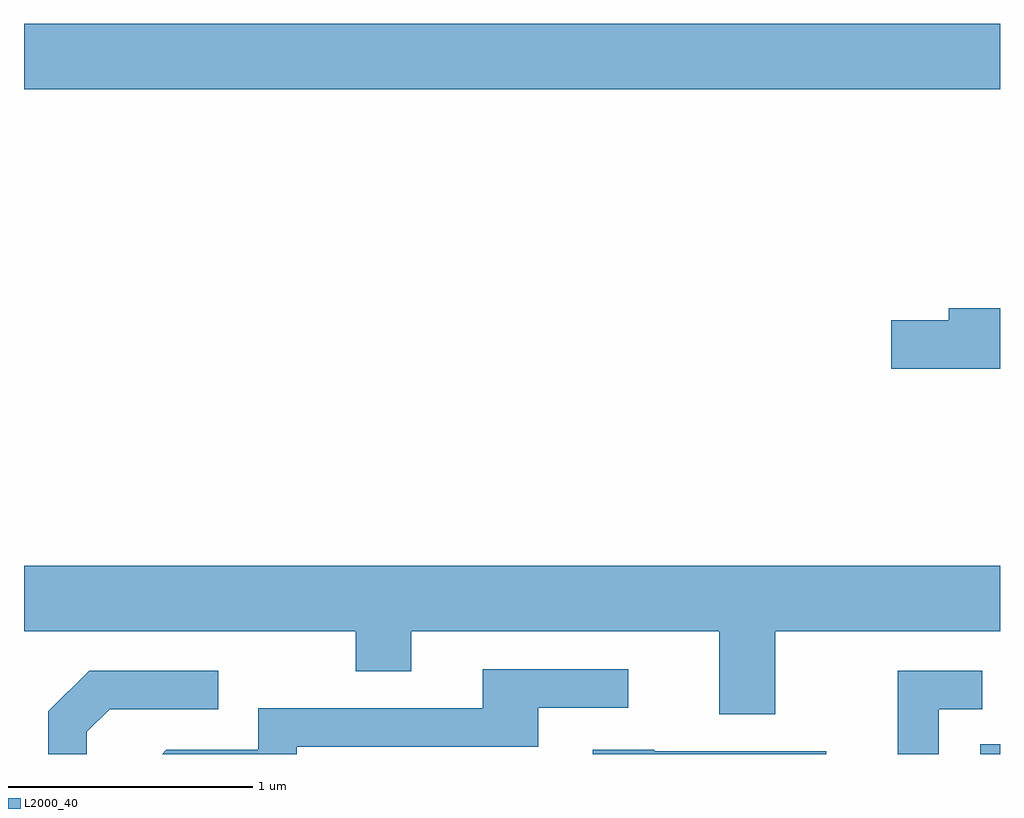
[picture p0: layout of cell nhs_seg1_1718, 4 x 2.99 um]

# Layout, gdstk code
import gdstk
lib = gdstk.Library(unit=1e-6, precision=1e-09)
def R(c, l, rs):  # rectangles x0, y0, x1, y1
    for r in rs: c.add(gdstk.rectangle(r[:2], r[2:], *l))
def P(c, l, *ps):  # polygons
    for p in ps: c.add(gdstk.Polygon(p, *l))
L2000_40 = (2000, 40)

nhs_seg1_1718 = lib.new_cell('nhs_seg1_1718')
R(nhs_seg1_1718, L2000_40, [(241.531,925.712,241.611,925.753), (237.611,928.436,241.611,928.704)])
P(nhs_seg1_1718, L2000_40, [(241.611,927.539),(241.401,927.539),(241.401,927.489),(241.166,927.489),(241.166,927.291),(241.611,927.291)],
  [(240.689,926.216),(241.611,926.216),(241.611,926.484),(237.611,926.484),(237.611,926.216),(238.971,926.216),(238.971,926.051),(239.199,926.051),(239.199,926.216),(240.461,926.216),(240.461,925.876),(240.689,925.876)],
  [(238.729,925.741),(239.719,925.741),(239.719,925.901),(240.088,925.901),(240.088,926.059),(239.491,926.059),(239.491,925.899),(238.571,925.899),(238.571,925.729),(238.194,925.729),(238.177,925.712),(238.729,925.712)],
  [(237.869,925.804),(237.962,925.896),(238.408,925.896),(238.408,926.054),(237.879,926.054),(237.711,925.887),(237.711,925.712),(237.869,925.712)],
  [(241.359,925.896),(241.538,925.896),(241.538,926.054),(241.191,926.054),(241.191,925.712),(241.359,925.712)],
  [(240.899,925.724),(240.195,925.724),(240.195,925.729),(239.941,925.729),(239.941,925.712),(240.899,925.712)])

lib.write_gds('nhs_seg1_1718.gds')
